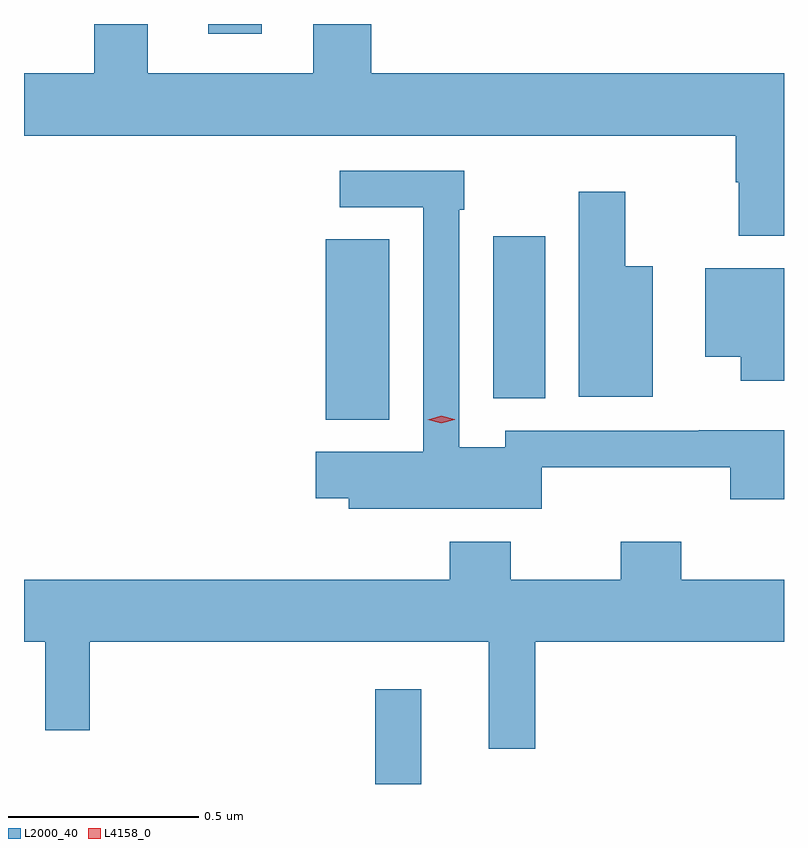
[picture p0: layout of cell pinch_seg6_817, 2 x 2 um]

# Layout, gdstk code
import gdstk
lib = gdstk.Library(unit=1e-6, precision=1e-09)
def R(c, l, rs):  # rectangles x0, y0, x1, y1
    for r in rs: c.add(gdstk.rectangle(r[:2], r[2:], *l))
def P(c, l, *ps):  # polygons
    for p in ps: c.add(gdstk.Polygon(p, *l))
L2000_40 = (2000, 40)
L4158_0 = (4158, 0)

pinch_seg6_817 = lib.new_cell('pinch_seg6_817')
R(pinch_seg6_817, L2000_40, [(287.148,957.618,287.269,957.868), (287.018,958.577,287.185,959.051), (287.459,958.633,287.596,959.059), (286.709,959.592,286.849,959.618)])
P(pinch_seg6_817, L2000_40, [(288.224,959.488),(287.138,959.488),(287.138,959.618),(286.985,959.618),(286.985,959.488),(286.549,959.488),(286.549,959.618),(286.409,959.618),(286.409,959.488),(286.224,959.488),(286.224,959.324),(288.097,959.324),(288.097,959.201),(288.105,959.201),(288.105,959.061),(288.224,959.061)],
  [(287.586,958.451),(288.083,958.451),(288.083,958.368),(288.224,958.368),(288.224,958.549),(287.999,958.549),(287.999,958.548),(287.49,958.548),(287.49,958.504),(287.37,958.504),(287.37,959.129),(287.383,959.129),(287.383,959.232),(287.055,959.232),(287.055,959.136),(287.274,959.136),(287.274,958.492),(286.992,958.492),(286.992,958.37),(287.079,958.37),(287.079,958.343),(287.586,958.343)],
  [(287.878,958.981),(287.806,958.981),(287.806,959.176),(287.684,959.176),(287.684,958.637),(287.878,958.637)],
  [(288.224,958.975),(288.017,958.975),(288.017,958.742),(288.11,958.742),(288.11,958.679),(288.224,958.679)],
  [(287.569,957.992),(288.224,957.992),(288.224,958.156),(287.954,958.156),(287.954,958.255),(287.794,958.255),(287.794,958.156),(287.505,958.156),(287.505,958.255),(287.345,958.255),(287.345,958.156),(286.224,958.156),(286.224,957.992),(286.28,957.992),(286.28,957.759),(286.397,957.759),(286.397,957.992),(287.447,957.992),(287.447,957.711),(287.569,957.711)])
P(pinch_seg6_817, L4158_0, [(287.322,958.567),(287.287,958.577),(287.287,958.577),(287.287,958.577),(287.322,958.587),(287.357,958.578),(287.357,958.577),(287.357,958.577)])

lib.write_gds('pinch_seg6_817.gds')
